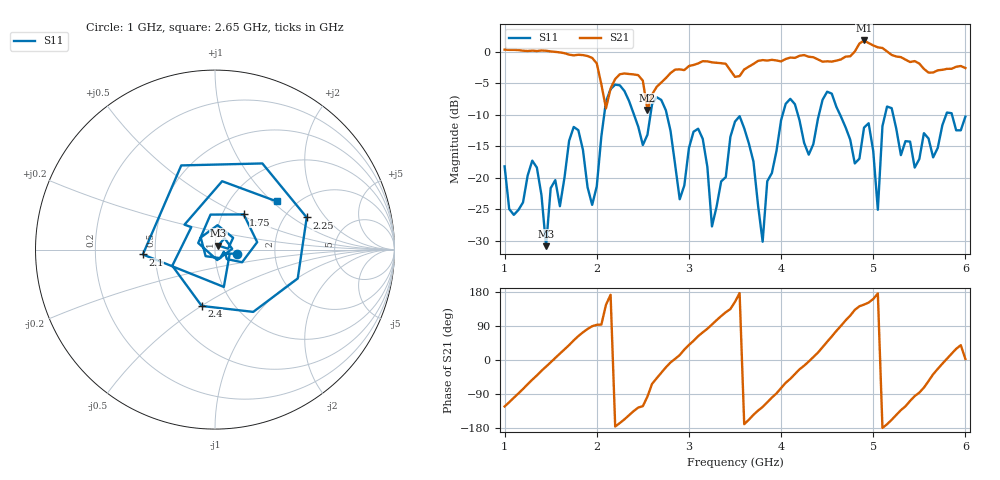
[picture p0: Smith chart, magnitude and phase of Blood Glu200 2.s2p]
! NanoVNA-App
! Date: 2024-03-21 16:18:22
! Start: 1GHz Stop: 6GHz Points: 101
! S-Parameter data: F S11 S21 S12 S22
# Hz S RI R 50
!	Frequency	S11_Real	S11_Imag	S21_Real	S21_Imag	S12_Real	S12_Imag	S22_Real	S22_Imag
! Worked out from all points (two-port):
!   101 points, 1 GHz to 6 GHz, reference 50 ohm
!   highest |S21| = 1.78 dB at 4.9 GHz (marker M1); lowest = -9.2 dB at 2.55 GHz (marker M2)
!   |S21| within 3 dB of the highest: start of sweep to 1.963 GHz; 4.65 GHz to 5.345 GHz (694.4 MHz wide, 13.9 % of centre)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
!   lowest |S11| = -30.8 dB at 1.45 GHz (marker M3), VSWR 1.06, Z = 51.8 + j2.33 ohm
!   |S11| at or under -10 dB: start of sweep to 2.081 GHz; 2.761 GHz to 4.017 GHz (1.256 GHz wide, 37.1 % of centre); 5.216 GHz to 5.791 GHz (575.3 MHz wide, 10.5 % of centre)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
!   S12 and S22 are empty: the file has one direction only
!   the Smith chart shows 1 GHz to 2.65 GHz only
!   S11 on the Smith chart (normalised r, x): 1 GHz: 1.27, -0.06; 1.75 GHz: 1.26, +0.53; 2.1 GHz: 0.43, -0.03; 2.25 GHz: 2.61, +1.32; 2.4 GHz: 0.72, -0.50; 2.65 GHz: 1.61, +1.07
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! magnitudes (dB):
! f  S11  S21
! 1 GHz  -18.2  0.3
! 1.45 GHz  -30.8  0.2
! 1.75 GHz  -11.9  -0.6
! 1.85 GHz  -15.6  -0.5
! 1.95 GHz  -24.3  -1.0
! 2.1 GHz  -7.9  -9.0
! 2.25 GHz  -5.3  -3.6
! 2.4 GHz  -9.8  -3.6
! 2.55 GHz  -13.2  -9.2
! 2.65 GHz  -7.2  -5.6
! 2.7 GHz  -7.7  -4.9
! 2.9 GHz  -23.4  -2.8
! 3.15 GHz  -13.8  -1.5
! 3.25 GHz  -27.7  -1.7
! 3.5 GHz  -11.1  -4.0
! 3.8 GHz  -30.1  -1.3
! 4.05 GHz  -8.3  -1.2
! 4.35 GHz  -14.7  -0.9
! 4.9 GHz  -12.0  1.8
! 5.05 GHz  -25.1  0.7
! 5.2 GHz  -9.0  -0.5
! 6 GHz  -10.3  -2.6
